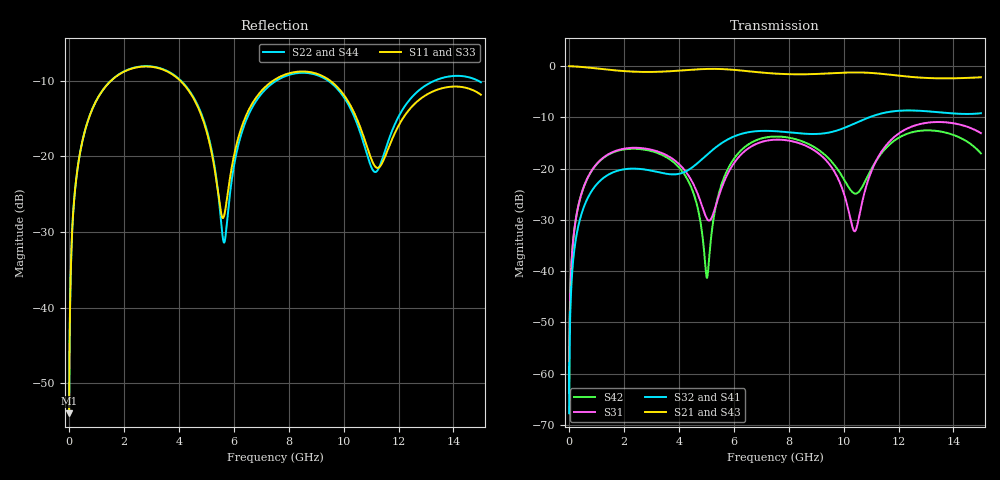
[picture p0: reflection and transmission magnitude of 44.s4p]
! Created with skrf 1.8.0 (http://scikit-rf.org).
# GHz S RI R 50.0
!freq ReS11 ImS11 ReS12 ImS12 ReS13 ImS13
! ReS14 ImS14
! ReS21 ImS21 ReS22 ImS22 ReS23 ImS23
! ReS24 ImS24
! ReS31 ImS31 ReS32 ImS32 ReS33 ImS33
! ReS34 ImS34
! ReS41 ImS41 ReS42 ImS42 ReS43 ImS43
! ReS44 ImS44
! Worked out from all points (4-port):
!   2499 points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, 5 MHz to 15 GHz, reference 50 ohm
!   strongest paths, dB at 5 MHz, 3.476 GHz, 7.19 GHz, 11.1 GHz, 15 GHz:
!     S21: 0.0, -1.1, -1.3, -1.4, -2.2
!     S43: 0.0, -1.1, -1.3, -1.4, -2.2
!     S32: -67.7, -20.9, -12.6, -9.7, -9.2
!     S41: -67.7, -20.9, -12.7, -9.7, -9.2
!     S31: -63.7, -17.2, -14.6, -19.4, -13.1
!     S42: -63.7, -17.6, -13.9, -19.3, -17.0
!   lowest |S11| = -54.0 dB at 5 MHz (marker M1), VSWR 1.00, Z = 50.2 + j0.122 ohm
!   |S11| at or under -10 dB: start of sweep to 1.539 GHz; 4.047 GHz to 7.441 GHz (3.394 GHz wide, 59.1 % of centre); 9.504 GHz to end of sweep
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0.005  0.0016 0.00121  0.9984 -0.00311  8.07e-05 0.000649  -7.82e-05 -0.000404
       0.9984 -0.00311  0.0016 0.00121  -7.82e-05 -0.000404  8.05e-05 0.000649
       8.07e-05 0.000649  -7.82e-05 -0.000404  0.0016 0.00121  0.9984 -0.00311
       -7.82e-05 -0.000404  8.05e-05 0.000649  0.9984 -0.00311  0.0016 0.00121
0.3126303  0.023 0.0799  0.9686 -0.1936  0.0109 0.0386  -0.00891 -0.0238
           0.9686 -0.1936  0.023 0.0799  -0.00891 -0.0238  0.0105 0.0387
           0.0109 0.0386  -0.00891 -0.0238  0.023 0.0799  0.9686 -0.1936
           -0.00891 -0.0238  0.0105 0.0387  0.9686 -0.1936  0.023 0.0799
1.519383  0.2546 0.1835  0.5802 -0.7107  0.1271 0.0636  -0.0891 -0.0114
          0.5802 -0.7107  0.2562 0.1826  -0.0891 -0.0113  0.122 0.07
          0.1271 0.0636  -0.0891 -0.0113  0.2546 0.1835  0.5802 -0.7108
          -0.0891 -0.0114  0.122 0.07  0.5802 -0.7108  0.2562 0.1825
5.458524  0.0401 -0.0341  -0.9256 -0.1508  -0.0268 0.0472  -0.0249 0.168
          -0.9256 -0.1508  0.0286 -0.0435  -0.0247 0.1681  0.0129 0.0561
          -0.0268 0.0472  -0.0247 0.1681  0.0382 -0.0336  -0.9257 -0.1505
          -0.0249 0.168  0.0129 0.0561  -0.9257 -0.1505  0.0303 -0.0425
8.797416  0.3551 -0.0547  0.0343 0.8338  0.1381 -0.0779  0.2048 -0.071
          0.0343 0.8338  0.3496 -0.0446  0.2053 -0.0727  0.1386 -0.0984
          0.1381 -0.0779  0.2053 -0.0727  0.3573 -0.0511  0.0342 0.8329
          0.2048 -0.071  0.1386 -0.0984  0.0342 0.8329  0.3522 -0.0486
11.43602  0.0909 0.018  0.8373 0.0391  0.0484 0.1463  0.00142 -0.3481
          0.8373 0.0391  0.0907 0.0401  -0.000454 -0.3482  -0.00538 0.1473
          0.0484 0.1463  -0.000454 -0.3482  0.0909 0.0152  0.8373 0.04
          0.00142 -0.3481  -0.00538 0.1473  0.8373 0.04  0.0911 0.0373
15  0.2406 -0.0849  -0.166 -0.7598  0.1132 -0.1911  -0.3202 0.1285
    -0.166 -0.7598  0.2785 -0.1323  -0.3204 0.1331  0.1213 -0.0715
    0.1132 -0.1911  -0.3204 0.1331  0.244 -0.0777  -0.1654 -0.759
    -0.3202 0.1285  0.1213 -0.0715  -0.1654 -0.759  0.2799 -0.1401
